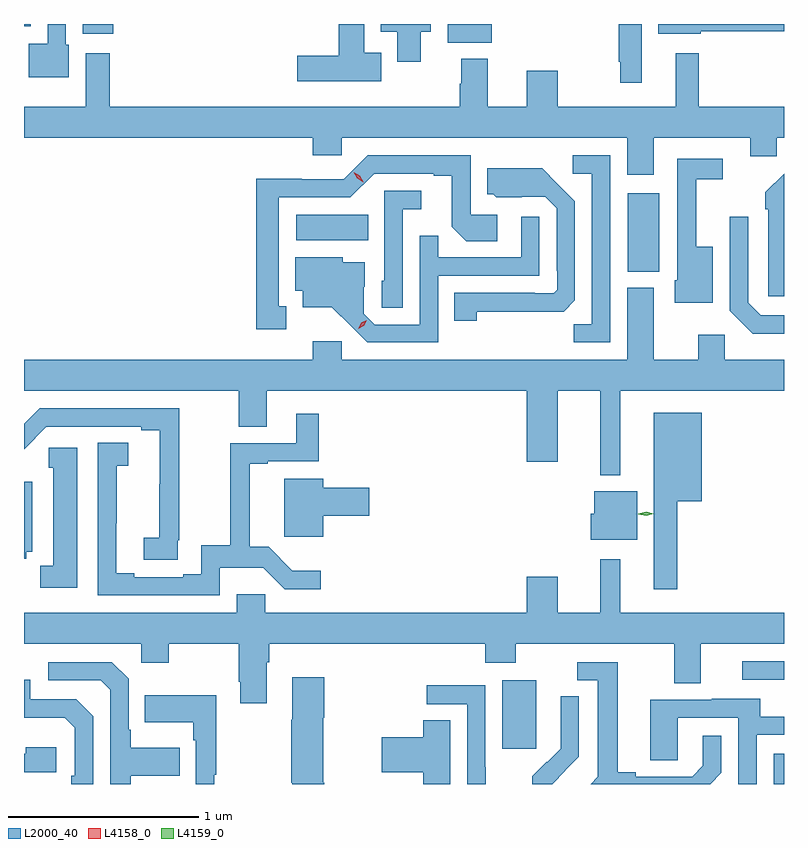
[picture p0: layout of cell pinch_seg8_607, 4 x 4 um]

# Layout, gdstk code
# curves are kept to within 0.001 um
import gdstk
lib = gdstk.Library(unit=1e-6, precision=1e-09)
def R(c, l, rs):  # rectangles x0, y0, x1, y1
    for r in rs: c.add(gdstk.rectangle(r[:2], r[2:], *l))
def P(c, l, *ps):  # polygons
    for p in ps: c.add(gdstk.Polygon(p, *l))
L2000_40 = (2000, 40)
L4158_0 = (4158, 0)
L4159_0 = (4159, 0)

pinch_seg8_607 = lib.new_cell('pinch_seg8_607')
R(pinch_seg8_607, L2000_40, [(202.272,1095.783,202.326,1095.942), (200.843,1095.969,201.022,1096.33), (202.107,1096.332,202.326,1096.428), (201.503,1098.479,201.67,1098.892), (199.758,1098.644,200.138,1098.778), (200.555,1099.685,200.788,1099.783), (198.635,1099.731,198.797,1099.783), (198.326,1099.77,198.361,1099.783)])
P(pinch_seg8_607, L2000_40, [(198.562,1099.674),(198.546,1099.674),(198.546,1099.783),(198.45,1099.783),(198.45,1099.678),(198.35,1099.678),(198.35,1099.502),(198.562,1099.502)],
  [(200.206,1099.633),(200.116,1099.633),(200.116,1099.783),(199.982,1099.783),(199.982,1099.616),(199.764,1099.616),(199.764,1099.481),(200.206,1099.481)],
  [(201.577,1099.783),(201.456,1099.783),(201.456,1099.585),(201.463,1099.585),(201.463,1099.473),(201.577,1099.473)],
  [(201.888,1099.744),(202.326,1099.744),(202.326,1099.783),(201.665,1099.783),(201.665,1099.733),(201.888,1099.733)],
  [(200.413,1099.742),(200.467,1099.742),(200.467,1099.783),(200.204,1099.783),(200.204,1099.742),(200.291,1099.742),(200.291,1099.584),(200.413,1099.584)],
  [(201.64,1099.184),(202.148,1099.184),(202.148,1099.086),(202.287,1099.086),(202.287,1099.184),(202.326,1099.184),(202.326,1099.348),(201.877,1099.348),(201.877,1099.63),(201.755,1099.63),(201.755,1099.348),(201.136,1099.348),(201.136,1099.537),(200.972,1099.537),(200.972,1099.348),(200.767,1099.348),(200.767,1099.6),(200.627,1099.6),(200.627,1099.469),(200.62,1099.469),(200.62,1099.348),(198.776,1099.348),(198.776,1099.63),(198.65,1099.63),(198.65,1099.348),(198.326,1099.348),(198.326,1099.184),(199.847,1099.184),(199.847,1099.091),(199.998,1099.091),(199.998,1099.184),(201.5,1099.184),(201.5,1098.99),(201.64,1098.99)],
  [(199.705,1098.297),(199.666,1098.297),(199.666,1098.87),(200.043,1098.87),(200.169,1098.996),(200.483,1098.996),(200.483,1098.984),(200.577,1098.984),(200.577,1098.716),(200.653,1098.64),(200.818,1098.64),(200.818,1098.78),(200.676,1098.78),(200.676,1099.092),(200.136,1099.092),(200.01,1098.966),(199.788,1098.966),(199.788,1098.968),(199.548,1098.968),(199.548,1098.177),(199.705,1098.177)],
  [(201.411,1099.092),(201.213,1099.092),(201.213,1098.996),(201.315,1098.996),(201.315,1098.203),(201.22,1098.203),(201.22,1098.108),(201.411,1098.108)],
  [(201.952,1098.61),(201.863,1098.61),(201.863,1098.966),(202.003,1098.966),(202.003,1099.074),(201.765,1099.074),(201.765,1098.435),(201.752,1098.435),(201.752,1098.317),(201.952,1098.317)],
  [(200.709,1098.268),(201.166,1098.269),(201.225,1098.328),(201.225,1098.85),(201.053,1099.024),(200.765,1099.024),(200.765,1098.888),(200.796,1098.888),(200.812,1098.872),(201.069,1098.873),(201.129,1098.813),(201.129,1098.484),(201.132,1098.484),(201.132,1098.384),(201.114,1098.366),(201.014,1098.366),(201.014,1098.369),(200.59,1098.369),(200.59,1098.222),(200.709,1098.222)],
  [(202.326,1098.996),(202.227,1098.897),(202.227,1098.809),(202.242,1098.809),(202.242,1098.351),(202.326,1098.351)],
  [(200.319,1098.809),(200.416,1098.809),(200.416,1098.906),(200.223,1098.906),(200.223,1098.432),(200.208,1098.432),(200.208,1098.289),(200.319,1098.289)],
  [(202.326,1098.249),(202.203,1098.249),(202.137,1098.315),(202.137,1098.769),(202.041,1098.769),(202.041,1098.273),(202.162,1098.152),(202.326,1098.152)],
  [(200.505,1098.459),(201.039,1098.459),(201.039,1098.769),(200.943,1098.769),(200.943,1098.555),(200.507,1098.555),(200.507,1098.668),(200.409,1098.668),(200.409,1098.201),(200.172,1098.201),(200.115,1098.258),(200.115,1098.4),(200.119,1098.4),(200.119,1098.529),(200.004,1098.529),(200.004,1098.556),(199.754,1098.556),(199.754,1098.38),(199.793,1098.38),(199.793,1098.293),(199.945,1098.293),(200.132,1098.108),(200.505,1098.108)],
  [(201.463,1097.852),(202.326,1097.852),(202.326,1098.016),(202.014,1098.016),(202.014,1098.148),(201.875,1098.148),(201.875,1098.016),(201.64,1098.016),(201.64,1098.394),(201.5,1098.394),(201.5,1098.016),(199.998,1098.016),(199.998,1098.112),(199.847,1098.112),(199.847,1098.016),(198.326,1098.016),(198.326,1097.852),(199.456,1097.852),(199.456,1097.662),(199.603,1097.662),(199.603,1097.852),(200.972,1097.852),(200.972,1097.478),(201.136,1097.478),(201.136,1097.852),(201.359,1097.852),(201.359,1097.408),(201.463,1097.408)],
  [(199.136,1097.065),(199.142,1097.065),(199.142,1097.76),(198.408,1097.76),(198.326,1097.678),(198.326,1097.546),(198.444,1097.664),(198.944,1097.664),(198.944,1097.644),(199.04,1097.644),(199.039,1097.078),(198.957,1097.078),(198.957,1096.963),(199.136,1096.963)],
  [(201.763,1097.27),(201.892,1097.27),(201.892,1097.737),(201.641,1097.737),(201.641,1096.809),(201.763,1096.809)],
  [(199.356,1096.922),(199.585,1096.922),(199.698,1096.809),(199.888,1096.809),(199.888,1096.906),(199.739,1096.906),(199.613,1097.032),(199.514,1097.032),(199.514,1097.469),(199.609,1097.469),(199.609,1097.481),(199.877,1097.481),(199.877,1097.731),(199.76,1097.731),(199.76,1097.577),(199.411,1097.577),(199.411,1097.039),(199.26,1097.039),(199.26,1096.886),(199.163,1096.886),(199.163,1096.872),(198.907,1096.872),(198.907,1096.892),(198.811,1096.892),(198.811,1097.155),(198.813,1097.155),(198.813,1097.459),(198.874,1097.459),(198.874,1097.579),(198.714,1097.579),(198.714,1096.776),(199.356,1096.776)],
  [(198.607,1097.554),(198.457,1097.554),(198.457,1097.448),(198.479,1097.448),(198.479,1096.932),(198.411,1096.932),(198.411,1096.817),(198.607,1096.817)],
  [(199.9,1097.195),(200.143,1097.195),(200.143,1097.342),(199.9,1097.342),(199.9,1097.389),(199.697,1097.389),(199.697,1097.084),(199.9,1097.084)],
  [(198.338,1097.006),(198.37,1097.006),(198.37,1097.374),(198.326,1097.374),(198.326,1096.969),(198.338,1096.969)],
  [(201.553,1097.323),(201.326,1097.323),(201.326,1097.205),(201.308,1097.205),(201.308,1097.069),(201.553,1097.069)],
  [(199.603,1096.424),(199.616,1096.424),(199.616,1096.52),(200.753,1096.52),(200.753,1096.421),(200.913,1096.421),(200.913,1096.52),(201.749,1096.52),(201.749,1096.312),(201.889,1096.312),(201.889,1096.52),(202.326,1096.52),(202.326,1096.684),(201.463,1096.684),(201.463,1096.966),(201.359,1096.966),(201.359,1096.684),(201.136,1096.684),(201.136,1096.873),(200.972,1096.873),(200.972,1096.684),(199.597,1096.684),(199.597,1096.782),(199.445,1096.782),(199.445,1096.684),(198.326,1096.684),(198.326,1096.52),(198.942,1096.52),(198.942,1096.421),(199.089,1096.421),(199.089,1096.52),(199.456,1096.52),(199.456,1096.321),(199.463,1096.321),(199.463,1096.209),(199.603,1096.209)],
  [(198.889,1095.826),(199.145,1095.826),(199.145,1095.973),(198.889,1095.973),(198.889,1096.069),(198.876,1096.069),(198.876,1096.338),(198.789,1096.425),(198.453,1096.425),(198.453,1096.329),(198.729,1096.329),(198.78,1096.278),(198.78,1095.783),(198.889,1095.783)],
  [(201.996,1095.842),(201.996,1096.036),(201.899,1096.036),(201.899,1095.879),(201.842,1095.822),(201.547,1095.822),(201.547,1095.845),(201.451,1095.845),(201.451,1096.425),(201.237,1096.425),(201.237,1096.329),(201.347,1096.329),(201.347,1095.821),(201.309,1095.783),(201.937,1095.783)],
  [(199.907,1095.79),(199.902,1095.79),(199.902,1096.132),(199.907,1096.132),(199.907,1096.345),(199.739,1096.345),(199.739,1096.121),(199.732,1096.121),(199.732,1095.79),(199.739,1095.79),(199.739,1095.783),(199.907,1095.783)],
  [(198.69,1096.14),(198.6,1096.23),(198.36,1096.23),(198.36,1096.332),(198.326,1096.332),(198.326,1096.133),(198.541,1096.133),(198.594,1096.08),(198.594,1095.826),(198.574,1095.826),(198.574,1095.783),(198.69,1095.783)],
  [(200.757,1095.872),(200.754,1095.872),(200.754,1096.302),(200.445,1096.302),(200.445,1096.203),(200.658,1096.203),(200.658,1095.783),(200.757,1095.783)],
  [(199.327,1095.833),(199.339,1095.833),(199.339,1096.249),(198.961,1096.249),(198.961,1096.109),(199.218,1096.109),(199.218,1096.013),(199.23,1096.013),(199.23,1095.783),(199.327,1095.783)],
  [(201.174,1095.852),(201.173,1095.853),(201.246,1095.926),(201.246,1096.244),(201.15,1096.244),(201.15,1096.09),(201.152,1096.09),(201.152,1095.968),(201.081,1095.897),(201.078,1095.9),(201.001,1095.823),(201.001,1095.783),(201.105,1095.783)],
  [(202.182,1096.041),(202.326,1096.041),(202.326,1096.137),(202.201,1096.137),(202.201,1096.231),(201.947,1096.231),(201.947,1096.227),(201.623,1096.227),(201.623,1095.907),(201.768,1095.907),(201.768,1096.131),(202.086,1096.131),(202.086,1095.783),(202.182,1095.783)],
  [(200.569,1096.118),(200.426,1096.118),(200.426,1096.028),(200.208,1096.028),(200.208,1095.845),(200.426,1095.845),(200.426,1095.783),(200.569,1095.783)],
  [(198.496,1095.976),(198.335,1095.976),(198.335,1095.942),(198.326,1095.942),(198.326,1095.846),(198.496,1095.846)])
P(pinch_seg8_607, L4158_0, [(200.084,1098.18),(200.084,1098.18),(200.101,1098.21),(200.131,1098.225),(200.131,1098.225),(200.131,1098.225),(200.114,1098.195),(200.084,1098.18)],
  [(200.111,1098.951),(200.079,1098.97),(200.061,1099.003),(200.061,1099.004),(200.062,1099.004),(200.093,1098.984),(200.111,1098.952),(200.111,1098.951)])
P(pinch_seg8_607, L4159_0, [(201.6,1097.195),(201.559,1097.204),(201.559,1097.204),(201.559,1097.205),(201.6,1097.215),(201.641,1097.206),(201.641,1097.206),(201.641,1097.206)])

lib.write_gds('pinch_seg8_607.gds')
